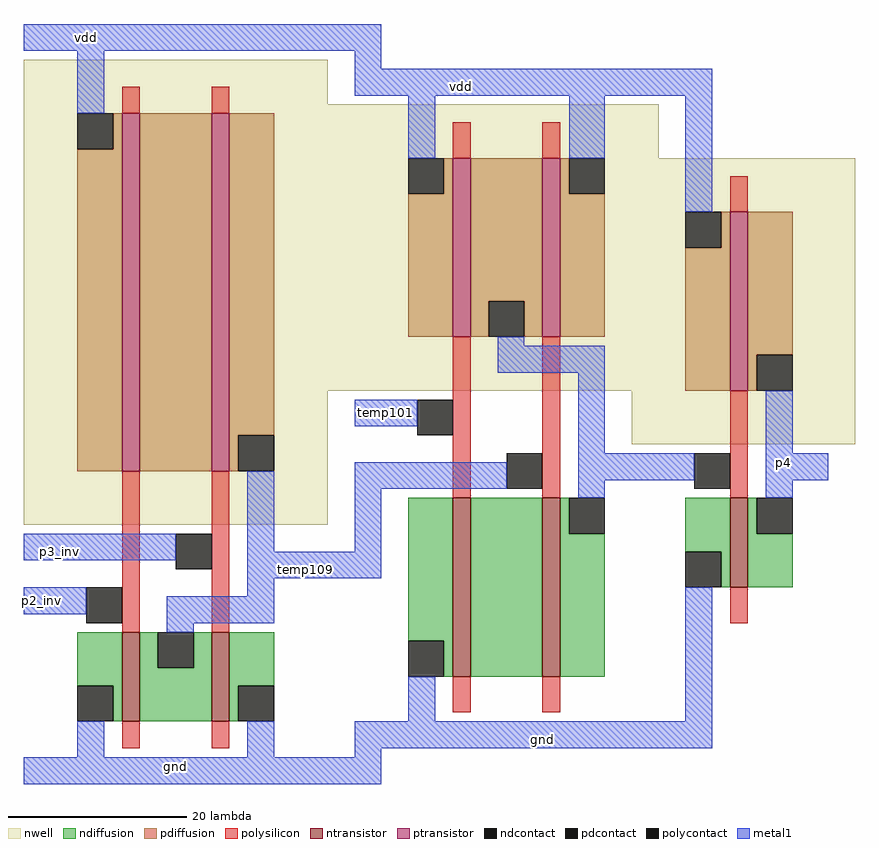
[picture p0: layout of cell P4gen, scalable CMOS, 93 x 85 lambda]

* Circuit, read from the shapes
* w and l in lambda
.subckt P4gen gnd p2_inv p3_inv p4 temp101 temp109 vdd
M1 temp109 p2_inv gnd VSUBS nfet w=10 l=2
M2 gnd p3_inv temp109 VSUBS nfet w=10 l=2
M3 n1 temp101 gnd VSUBS nfet w=20 l=2
M4 n2 temp109 n1 VSUBS nfet w=20 l=2
M5 p4 n2 gnd VSUBS nfet w=10 l=2
M6 n3 p2_inv vdd n4 pfet w=40 l=2
M7 temp109 p3_inv n3 n4 pfet w=40 l=2
M8 n2 temp101 vdd n4 pfet w=20 l=2
M9 vdd temp109 n2 n4 pfet w=20 l=2
M10 p4 n2 vdd n4 pfet w=20 l=2
.ends

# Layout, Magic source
magic
tech scmos
<< nwell >>
rect -72 77 -38 82
rect -72 71 -1 77
rect -72 45 21 71
rect -72 30 -38 45
rect -4 39 21 45
<< ntransistor >>
rect -61 8 -59 18
rect -51 8 -49 18
rect -24 13 -22 33
rect -14 13 -12 33
rect 7 23 9 33
<< ptransistor >>
rect -61 36 -59 76
rect -51 36 -49 76
rect -24 51 -22 71
rect -14 51 -12 71
rect 7 45 9 65
<< ndiffusion >>
rect -66 12 -61 18
rect -62 8 -61 12
rect -59 14 -57 18
rect -53 14 -51 18
rect -59 8 -51 14
rect -49 12 -44 18
rect -29 17 -24 33
rect -25 13 -24 17
rect -22 13 -14 33
rect -12 29 -11 33
rect -12 13 -7 29
rect 2 27 7 33
rect 6 23 7 27
rect 9 29 10 33
rect 9 23 14 29
rect -49 8 -48 12
<< pdiffusion >>
rect -62 72 -61 76
rect -66 36 -61 72
rect -59 36 -51 76
rect -49 40 -44 76
rect -25 67 -24 71
rect -29 51 -24 67
rect -22 55 -14 71
rect -22 51 -20 55
rect -16 51 -14 55
rect -12 67 -11 71
rect -12 51 -7 67
rect 6 61 7 65
rect -49 36 -48 40
rect 2 45 7 61
rect 9 49 14 65
rect 9 45 10 49
<< ndcontact >>
rect -66 8 -62 12
rect -57 14 -53 18
rect -29 13 -25 17
rect -11 29 -7 33
rect 2 23 6 27
rect 10 29 14 33
rect -48 8 -44 12
<< pdcontact >>
rect -66 72 -62 76
rect -29 67 -25 71
rect -20 51 -16 55
rect -11 67 -7 71
rect 2 61 6 65
rect -48 36 -44 40
rect 10 45 14 49
<< polysilicon >>
rect -61 76 -59 79
rect -51 76 -49 79
rect -24 71 -22 75
rect -14 71 -12 75
rect 7 65 9 69
rect -61 18 -59 36
rect -51 18 -49 36
rect -24 33 -22 51
rect -14 33 -12 51
rect 7 33 9 45
rect 7 19 9 23
rect -24 9 -22 13
rect -14 9 -12 13
rect -61 5 -59 8
rect -51 5 -49 8
<< polycontact >>
rect -28 40 -24 44
rect -65 19 -61 23
rect -55 25 -51 29
rect -18 34 -14 38
rect 3 34 7 38
<< metal1 >>
rect -72 83 -32 86
rect -66 76 -63 83
rect -35 81 -32 83
rect -35 78 5 81
rect -29 71 -26 78
rect -11 71 -7 78
rect 2 65 5 78
rect -19 50 -16 51
rect -19 47 -7 50
rect -35 41 -28 44
rect -10 38 -7 47
rect 11 38 14 45
rect -72 26 -55 29
rect -47 27 -44 36
rect -35 34 -18 37
rect -10 35 3 38
rect -35 27 -32 34
rect -10 33 -7 35
rect 11 35 18 38
rect 11 33 14 35
rect -47 24 -32 27
rect -72 20 -65 23
rect -47 22 -44 24
rect -56 19 -44 22
rect -56 18 -53 19
rect -29 8 -26 13
rect 2 8 5 23
rect -66 4 -63 8
rect -47 4 -44 8
rect -35 5 5 8
rect -35 4 -32 5
rect -72 1 -32 4
<< labels >>
rlabel metal1 -65 84 -65 85 5 vdd
rlabel metal1 -55 3 -55 3 1 gnd
rlabel metal1 -70 26 -66 28 3 p3_inv
rlabel metal1 -71 21 -69 22 3 p2_inv
rlabel metal1 -41 24 -40 26 7 temp109
rlabel metal1 -23 79 -23 79 5 vdd
rlabel metal1 -14 6 -14 6 1 gnd
rlabel metal1 -33 41 -30 44 1 temp101
rlabel metal1 12 36 14 38 1 p4
<< end >>
